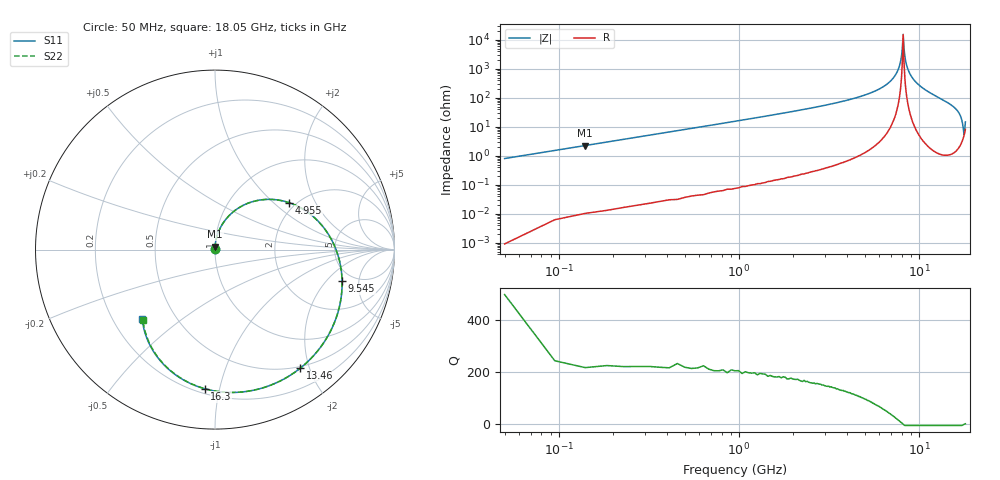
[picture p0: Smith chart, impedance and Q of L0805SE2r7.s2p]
! AVX Thin Film Operation		Date: May 2002
! Description: Accu-L® Series, Thin Film, SMD, RF Inductors
! Part Number: L08052R7CEWTR
! 50 MHz  -  18.05 GHz
! Serial Measurements
# mhz S db R 50
!	S11		S21		S12		S22
!	dB	Phase	dB	Phase	dB	Phase	dB	Phase
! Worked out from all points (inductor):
!   401 points, 50 MHz to 18.05 GHz, reference 50 ohm
!   read as 1/Y11, port 2 shorted: L = 2.56 nH near 140 MHz
!   highest Q = 226 at 140 MHz (marker M1), where L = 2.57 nH
!   self-resonance near 8.105 GHz
!   S11 on the Smith chart (normalised r, x): 50 MHz: 1.00, +0.01; 4.955 GHz: 1.84, +1.26; 9.545 GHz: 4.02, -3.04; 13.46 GHz: 0.47, -1.85; 16.3 GHz: 0.23, -0.90; 18.05 GHz: 0.32, -0.36
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50  -44.97 89.1  -0.00 -0.6  -0.00 -0.6  -44.97 89.1
140  -36.03 88.0  -0.00 -1.7  -0.00 -1.7  -36.03 88.0
230  -31.72 86.9  -0.00 -2.8  -0.00 -2.8  -31.72 86.9
410  -26.70 84.7  -0.01 -4.9  -0.01 -4.9  -26.70 84.7
635  -22.91 82.0  -0.03 -7.6  -0.03 -7.6  -22.91 82.0
905  -19.86 78.8  -0.05 -10.8  -0.05 -10.8  -19.86 78.8
1265  -16.99 74.5  -0.10 -15.1  -0.10 -15.1  -16.99 74.4
1760  -14.20 68.6  -0.18 -21.0  -0.18 -21.0  -14.20 68.6
3065  -9.71 53.4  -0.52 -36.2  -0.52 -36.2  -9.71 53.4
4955  -6.23 32.4  -1.23 -57.1  -1.23 -57.1  -6.23 32.4
6080  -4.95 20.6  -1.73 -68.9  -1.73 -68.9  -4.95 20.5
7610  -3.73 5.1  -2.47 -84.4  -2.47 -84.4  -3.73 5.0
9050  -2.95 -9.1  -3.18 -98.6  -3.18 -98.6  -2.95 -9.2
9545  -2.73 -14.0  -3.42 -103.5  -3.42 -103.5  -2.73 -14.1
10805  -2.30 -26.4  -4.01 -115.9  -4.01 -115.9  -2.30 -26.5
12065  -1.99 -39.2  -4.54 -128.7  -4.54 -128.7  -1.99 -39.2
13460  -1.79 -54.3  -4.98 -144.1  -4.98 -144.1  -1.79 -54.3
15080  -1.80 -74.7  -5.11 -165.0  -5.11 -165.0  -1.80 -74.6
16295  -2.19 -94.2  -4.66 174.6  -4.66 174.6  -2.18 -93.9
17150  -2.96 -112.0  -3.86 155.3  -3.86 155.3  -2.96 -111.6
17600  -3.75 -123.4  -3.26 142.6  -3.26 142.6  -3.74 -122.9
18050  -5.05 -136.5  -2.59 127.5  -2.59 127.5  -5.04 -135.9
